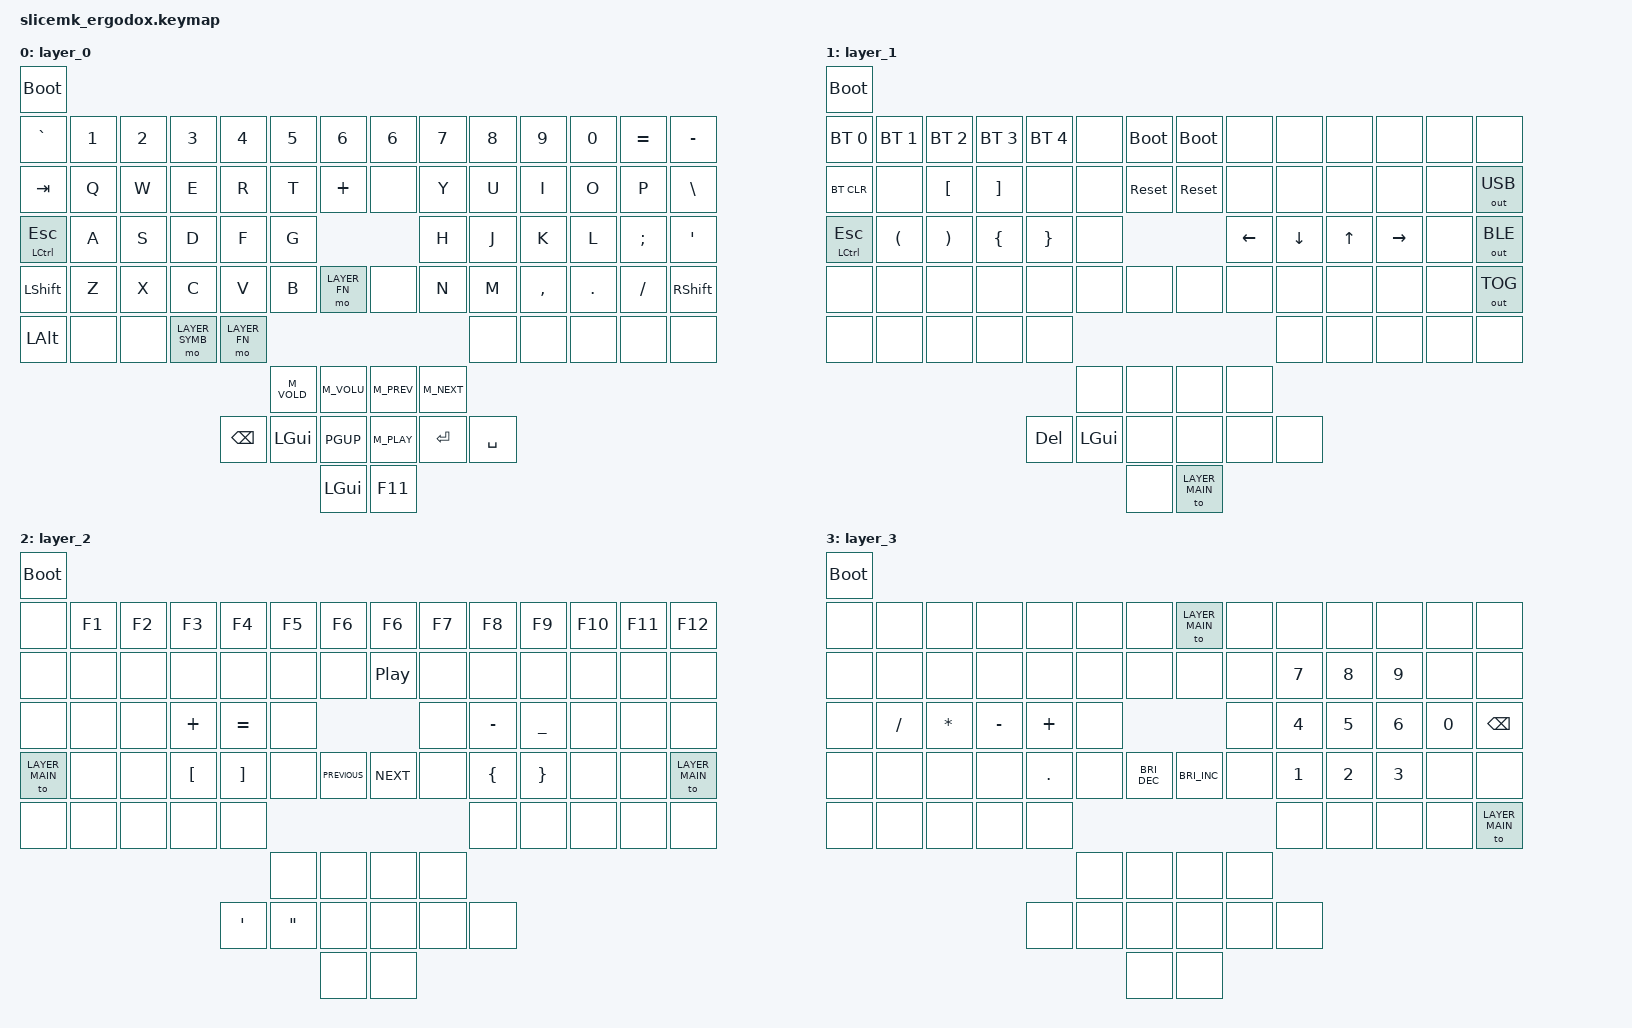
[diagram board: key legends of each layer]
#include <behaviors.dtsi>
#include <dt-bindings/zmk/bt.h>
#include <dt-bindings/zmk/keys.h>
#include <dt-bindings/zmk/outputs.h>
#include <dt-bindings/zmk/rgb.h>

#define LAYER_MAIN 0
#define LAYER_FN 1
#define LAYER_SYMB 2
#define LAYER_NMPAD 3



/ {
	keymap {
		compatible = "zmk,keymap";
		layer_0 {
			bindings = <
				&bootloader
				&kp GRAV      &kp NUMBER_1 &kp NUMBER_2 &kp NUMBER_3   &kp NUMBER_4  &kp NUMBER_5 &kp NUMBER_6 &kp NUMBER_6 &kp NUMBER_7 &kp NUMBER_8 &kp NUMBER_9 &kp NUMBER_0 &kp EQUAL     &kp MINUS
				&kp TAB       &kp Q        &kp W        &kp E          &kp R         &kp T        &kp PLUS     &none        &kp Y        &kp U        &kp I        &kp O        &kp P         &kp BSLH
				&mt LCTRL ESC &kp A        &kp S        &kp D          &kp F         &kp G                                  &kp H        &kp J        &kp K        &kp L        &kp SEMICOLON &kp QUOT
				&kp LSHIFT    &kp Z        &kp X        &kp C          &kp V         &kp B        &mo LAYER_FN &none        &kp N        &kp M        &kp CMMA     &kp DOT      &kp FSLH      &kp RSHIFT
				&kp LALT      &none        &none        &mo LAYER_SYMB &mo LAYER_FN                                                      &none        &none        &none        &none         &none
				                                                                     &kp M_VOLD   &kp M_VOLU   &kp M_PREV   &kp M_NEXT
				                                                       &kp BACKSPACE &kp LGUI     &kp PGUP     &kp M_PLAY   &kp ENTER    &kp SPACE
				                                                                                  &kp LGUI     &kp F11
			>;
		};
		layer_1 {
			bindings = <
				&bootloader
				&bt BT_SEL 0  &bt BT_SEL 1 &bt BT_SEL 2 &bt BT_SEL 3   &bt BT_SEL 4    &none    &bootloader &bootloader    &none    &none    &none  &none     &none &none
				&bt BT_CLR    &none        &kp LBKT     &kp RBKT       &none           &none    &sys_reset  &sys_reset     &none    &none    &none  &none     &none &out OUT_USB
				&mt LCTRL ESC &kp LPAR     &kp RPAR     &kp LEFT_BRACE &kp RIGHT_BRACE &none                               &kp LEFT &kp DOWN &kp UP &kp RIGHT &none &out OUT_BLE
				&none         &none        &none        &none          &none           &none    &none       &none          &none    &none    &none  &none     &none &out OUT_TOG
				&none         &none        &none        &none          &none                                                        &none    &none  &none     &none &none
				                                                                       &none    &none       &none          &none
				                                                       &kp DEL         &kp LGUI &none       &none          &none    &none
				                                                                                &none       &to LAYER_MAIN
			>;
		};
		layer_2 {
			bindings = <
				&bootloader
				&none          &kp F1 &kp F2 &kp F3   &kp F4           &kp F5            &kp F6         &kp F6           &kp F7 &kp F8         &kp F9          &kp F10 &kp F11 &kp F12
				&none          &none  &none  &none    &none            &none             &none          &kp C_PLAY_PAUSE &none  &none          &none           &none   &none   &none
				&none          &none  &none  &kp PLUS &kp EQUAL        &none                                             &none  &kp MINUS      &kp UNDERSCORE  &none   &none   &none
				&to LAYER_MAIN &none  &none  &kp LBKT &kp RBKT         &none             &kp C_PREVIOUS &kp C_NEXT       &none  &kp LEFT_BRACE &kp RIGHT_BRACE &none   &none   &to LAYER_MAIN
				&none          &none  &none  &none    &none                                                                     &none          &none           &none   &none   &none
				                                                       &none             &none          &none            &none
				                                      &kp SINGLE_QUOTE &kp DOUBLE_QUOTES &none          &none            &none  &none
				                                                                         &none          &none
			>;
		};
		layer_3 {
			bindings = <
				&bootloader
				&none &none     &none        &none     &none    &none &none                &to LAYER_MAIN       &none &none        &none        &none        &none        &none
				&none &none     &none        &none     &none    &none &none                &none                &none &kp NUMBER_7 &kp NUMBER_8 &kp NUMBER_9 &none        &none
				&none &kp SLASH &kp ASTERISK &kp MINUS &kp PLUS &none                                           &none &kp NUMBER_4 &kp NUMBER_5 &kp NUMBER_6 &kp NUMBER_0 &kp BACKSPACE
				&none &none     &none        &none     &kp DOT  &none &kp C_BRIGHTNESS_DEC &kp C_BRIGHTNESS_INC &none &kp NUMBER_1 &kp NUMBER_2 &kp NUMBER_3 &none        &none
				&none &none     &none        &none     &none                                                          &none        &none        &none        &none        &to LAYER_MAIN
				                                                &none &none                &none                &none
				                                       &none    &none &none                &none                &none &none
				                                                      &none                &none
			>;
		};
	};

};
